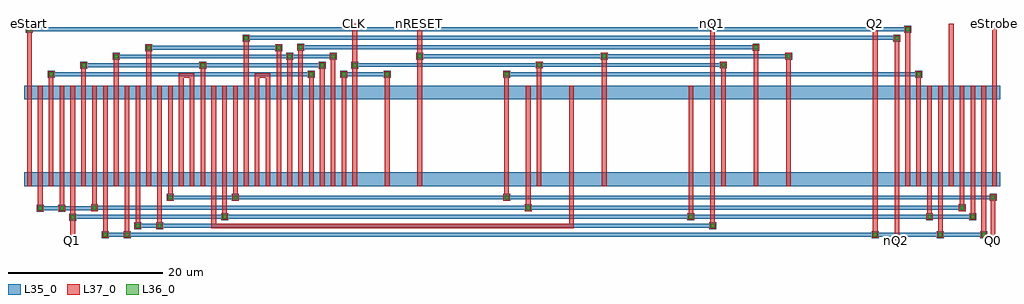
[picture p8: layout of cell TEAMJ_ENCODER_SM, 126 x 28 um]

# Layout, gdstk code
import gdstk
lib = gdstk.Library(unit=1e-6, precision=1e-09)
def R(c, l, rs):  # rectangles x0, y0, x1, y1
    for r in rs: c.add(gdstk.rectangle(r[:2], r[2:], *l))
def A(c, l, x, y, w, h, nx, ny, dx, dy):  # array of equal rectangles
    R(c, l, [(x+i*dx, y+j*dy, x+i*dx+w, y+j*dy+h) for i in range(nx) for j in range(ny)])
L35_0 = (35, 0)
L36_0 = (36, 0)
L37_0 = (37, 0)

via1 = lib.new_cell('VIA1')
R(via1, L35_0, [(-0.45,-0.45,0.45,0.45)])
R(via1, L36_0, [(-0.25,-0.25,0.25,0.25)])
R(via1, L37_0, [(-0.4,-0.4,0.4,0.4)])

nor31_h = lib.new_cell('NOR31_H')
R(nor31_h, L35_0, [(0,0,5.6,1.8), (0,11.2,5.6,13)])
nor31_h.add(gdstk.FlexPath([(4.9,0),(4.9,13)], 0.6, ends="flush", simple_path=True, layer=37, datatype=0))  # L37_0
nor31_h.add(gdstk.FlexPath([(3.5,13),(3.5,0)], 0.6, ends="flush", simple_path=True, layer=37, datatype=0))  # L37_0
nor31_h.add(gdstk.FlexPath([(2.1,0),(2.1,13)], 0.6, ends="flush", simple_path=True, layer=37, datatype=0))  # L37_0
nor31_h.add(gdstk.FlexPath([(0.7,0),(0.7,13)], 0.6, ends="flush", simple_path=True, layer=37, datatype=0))  # L37_0
nor31_h.add(gdstk.Label('NOR31', (2.8,6.5), layer=61, texttype=0))
nor31_h.add(gdstk.Label('Q', (4.9,13), layer=37, texttype=0))
nor31_h.add(gdstk.Label('C', (3.5,13), layer=37, texttype=0))
nor31_h.add(gdstk.Label('B', (2.1,13), layer=37, texttype=0))
nor31_h.add(gdstk.Label('A', (0.7,13), layer=37, texttype=0))
nor31_h.add(gdstk.Label('Q', (4.9,0), layer=37, texttype=0))
nor31_h.add(gdstk.Label('C', (3.5,0), layer=37, texttype=0))
nor31_h.add(gdstk.Label('B', (2.1,0), layer=37, texttype=0))
nor31_h.add(gdstk.Label('A', (0.7,0), layer=37, texttype=0))
nor31_h.add(gdstk.Label('vdd', (0,12.1), layer=35, texttype=0))
nor31_h.add(gdstk.Label('vdd', (5.6,12.1), layer=35, texttype=0))
nor31_h.add(gdstk.Label('gnd', (0,0.9), layer=35, texttype=0))
nor31_h.add(gdstk.Label('gnd', (5.6,0.9), layer=35, texttype=0))

nor41_h = lib.new_cell('NOR41_H')
R(nor41_h, L35_0, [(0,0,7,1.8), (0,11.2,7,13)])
nor41_h.add(gdstk.FlexPath([(6.3,13),(6.3,0)], 0.6, ends="flush", simple_path=True, layer=37, datatype=0))  # L37_0
nor41_h.add(gdstk.FlexPath([(4.9,0),(4.9,13)], 0.6, ends="flush", simple_path=True, layer=37, datatype=0))  # L37_0
nor41_h.add(gdstk.FlexPath([(3.5,13),(3.5,0)], 0.6, ends="flush", simple_path=True, layer=37, datatype=0))  # L37_0
nor41_h.add(gdstk.FlexPath([(2.1,0),(2.1,13)], 0.6, ends="flush", simple_path=True, layer=37, datatype=0))  # L37_0
nor41_h.add(gdstk.FlexPath([(0.7,13),(0.7,0)], 0.6, ends="flush", simple_path=True, layer=37, datatype=0))  # L37_0
nor41_h.add(gdstk.Label('NOR41', (3.5,6.5), layer=61, texttype=0))
nor41_h.add(gdstk.Label('Q', (6.3,13), layer=37, texttype=0))
nor41_h.add(gdstk.Label('D', (4.9,13), layer=37, texttype=0))
nor41_h.add(gdstk.Label('C', (3.5,13), layer=37, texttype=0))
nor41_h.add(gdstk.Label('B', (2.1,13), layer=37, texttype=0))
nor41_h.add(gdstk.Label('A', (0.7,13), layer=37, texttype=0))
nor41_h.add(gdstk.Label('Q', (6.3,0), layer=37, texttype=0))
nor41_h.add(gdstk.Label('D', (4.9,0), layer=37, texttype=0))
nor41_h.add(gdstk.Label('C', (3.5,0), layer=37, texttype=0))
nor41_h.add(gdstk.Label('B', (2.1,0), layer=37, texttype=0))
nor41_h.add(gdstk.Label('A', (0.7,0), layer=37, texttype=0))
nor41_h.add(gdstk.Label('vdd', (0,12.1), layer=35, texttype=0))
nor41_h.add(gdstk.Label('vdd', (7,12.1), layer=35, texttype=0))
nor41_h.add(gdstk.Label('gnd', (0,0.9), layer=35, texttype=0))
nor41_h.add(gdstk.Label('gnd', (7,0.9), layer=35, texttype=0))

dfc1_h = lib.new_cell('DFC1_H')
R(dfc1_h, L35_0, [(0,0,23.8,1.8), (0,11.2,23.8,13)])
dfc1_h.add(gdstk.FlexPath([(23.1,13),(23.1,0)], 0.6, ends="flush", simple_path=True, layer=37, datatype=0))  # L37_0
dfc1_h.add(gdstk.FlexPath([(20.3,0),(20.3,13)], 0.6, ends="flush", simple_path=True, layer=37, datatype=0))  # L37_0
dfc1_h.add(gdstk.FlexPath([(9.1,13),(9.1,0)], 0.6, ends="flush", simple_path=True, layer=37, datatype=0))  # L37_0
dfc1_h.add(gdstk.FlexPath([(4.9,0),(4.9,13)], 0.6, ends="flush", simple_path=True, layer=37, datatype=0))  # L37_0
dfc1_h.add(gdstk.FlexPath([(0.7,0),(0.7,13)], 0.6, ends="flush", simple_path=True, layer=37, datatype=0))  # L37_0
dfc1_h.add(gdstk.Label('DFC1', (11.9,6.5), layer=61, texttype=0))
dfc1_h.add(gdstk.Label('QN', (23.1,0), layer=37, texttype=0))
dfc1_h.add(gdstk.Label('Q', (20.3,0), layer=37, texttype=0))
dfc1_h.add(gdstk.Label('RN', (9.1,0), layer=37, texttype=0))
dfc1_h.add(gdstk.Label('D', (4.9,0), layer=37, texttype=0))
dfc1_h.add(gdstk.Label('C', (0.7,0), layer=37, texttype=0))
dfc1_h.add(gdstk.Label('QN', (23.1,13), layer=37, texttype=0))
dfc1_h.add(gdstk.Label('Q', (20.3,13), layer=37, texttype=0))
dfc1_h.add(gdstk.Label('RN', (9.1,13), layer=37, texttype=0))
dfc1_h.add(gdstk.Label('D', (4.9,13), layer=37, texttype=0))
dfc1_h.add(gdstk.Label('C', (0.7,13), layer=37, texttype=0))
dfc1_h.add(gdstk.Label('gnd', (0,0.9), layer=35, texttype=0))
dfc1_h.add(gdstk.Label('vdd', (0,12.1), layer=35, texttype=0))
dfc1_h.add(gdstk.Label('vdd', (23.8,12.1), layer=35, texttype=0))
dfc1_h.add(gdstk.Label('gnd', (23.8,0.9), layer=35, texttype=0))

nand31_h = lib.new_cell('NAND31_H')
R(nand31_h, L35_0, [(0,0,5.6,1.8), (0,11.2,5.6,13)])
nand31_h.add(gdstk.FlexPath([(4.9,13),(4.9,0)], 0.6, ends="flush", simple_path=True, layer=37, datatype=0))  # L37_0
nand31_h.add(gdstk.FlexPath([(3.5,0),(3.5,13)], 0.6, ends="flush", simple_path=True, layer=37, datatype=0))  # L37_0
nand31_h.add(gdstk.FlexPath([(2.1,13),(2.1,0)], 0.6, ends="flush", simple_path=True, layer=37, datatype=0))  # L37_0
nand31_h.add(gdstk.FlexPath([(0.7,0),(0.7,13)], 0.6, ends="flush", simple_path=True, layer=37, datatype=0))  # L37_0
nand31_h.add(gdstk.Label('NAND31', (2.8,6.5), layer=61, texttype=0))
nand31_h.add(gdstk.Label('Q', (4.9,13), layer=37, texttype=0))
nand31_h.add(gdstk.Label('A', (3.5,13), layer=37, texttype=0))
nand31_h.add(gdstk.Label('B', (2.1,13), layer=37, texttype=0))
nand31_h.add(gdstk.Label('C', (0.7,13), layer=37, texttype=0))
nand31_h.add(gdstk.Label('Q', (4.9,0), layer=37, texttype=0))
nand31_h.add(gdstk.Label('A', (3.5,0), layer=37, texttype=0))
nand31_h.add(gdstk.Label('B', (2.1,0), layer=37, texttype=0))
nand31_h.add(gdstk.Label('C', (0.7,0), layer=37, texttype=0))
nand31_h.add(gdstk.Label('vdd', (0,12.1), layer=35, texttype=0))
nand31_h.add(gdstk.Label('vdd', (5.6,12.1), layer=35, texttype=0))
nand31_h.add(gdstk.Label('gnd', (0,0.9), layer=35, texttype=0))
nand31_h.add(gdstk.Label('gnd', (5.6,0.9), layer=35, texttype=0))

nand21_h = lib.new_cell('NAND21_H')
R(nand21_h, L35_0, [(0,0,4.2,1.8), (0,11.2,4.2,13)])
nand21_h.add(gdstk.FlexPath([(3.5,0),(3.5,13)], 0.6, ends="flush", simple_path=True, layer=37, datatype=0))  # L37_0
nand21_h.add(gdstk.FlexPath([(2.1,13),(2.1,0)], 0.6, ends="flush", simple_path=True, layer=37, datatype=0))  # L37_0
nand21_h.add(gdstk.FlexPath([(0.7,0),(0.7,13)], 0.6, ends="flush", simple_path=True, layer=37, datatype=0))  # L37_0
nand21_h.add(gdstk.Label('NAND21', (2.1,6.5), layer=61, texttype=0))
nand21_h.add(gdstk.Label('Q', (3.5,0), layer=37, texttype=0))
nand21_h.add(gdstk.Label('A', (2.1,0), layer=37, texttype=0))
nand21_h.add(gdstk.Label('B', (0.7,0), layer=37, texttype=0))
nand21_h.add(gdstk.Label('Q', (3.5,13), layer=37, texttype=0))
nand21_h.add(gdstk.Label('A', (2.1,13), layer=37, texttype=0))
nand21_h.add(gdstk.Label('B', (0.7,13), layer=37, texttype=0))
nand21_h.add(gdstk.Label('vdd', (0,12.1), layer=35, texttype=0))
nand21_h.add(gdstk.Label('vdd', (4.2,12.1), layer=35, texttype=0))
nand21_h.add(gdstk.Label('gnd', (0,0.9), layer=35, texttype=0))
nand21_h.add(gdstk.Label('gnd', (4.2,0.9), layer=35, texttype=0))

teamj_encoder_sm = lib.new_cell('TEAMJ_ENCODER_SM')
R(teamj_encoder_sm, L35_0, [(6.75,-6.5,8.65,-6), (10.95,-5.35,12.85,-4.85), (13.75,-5.35,84.25,-4.85), (2.55,-4.2,21.25,-3.7), (22.15,-4.2,81.45,-3.7), (82.35,-4.2,112.25,-3.7), (113.15,-4.2,117.85,-3.7), (-1.65,-3.1,0.25,-2.6), (1.15,-3.1,4.45,-2.6), (5.35,-3.05,60.45,-2.55), (61.35,-3.05,116.45,-2.55), (15.15,-1.7,22.65,-1.2), (23.55,-1.7,57.65,-1.2), (37.55,14.2,42.25,14.7), (58.55,14.2,110.85,14.7), (38.95,15.4,61.85,15.9), (62.75,15.4,85.65,15.9), (8.15,16.5,29.65,17), (30.55,16.5,35.25,17), (47.35,16.55,70.25,17.05), (71.15,16.55,94.05,17.05), (12.35,17.65,28.25,18.15), (31.95,17.7,89.85,18.2)])
A(teamj_encoder_sm, L37_0, 4.6, -2.4, 0.6, 2.4, 3, 1, 56, 0)
A(teamj_encoder_sm, L37_0, 46.6, 13, 0.6, 3.4, 3, 1, 23.8, 0)
R(teamj_encoder_sm, L37_0, [(1.8,-7,2.4,-4.4), (108.2,-7,108.8,0), (120.6,-7,121.2,-1.85), (6,-5.85,6.6,0), (8.8,-5.85,9.4,0), (105.4,-5.85,106,0), (10.2,-4.7,10.8,0), (13,-4.7,13.6,0), (84.4,-4.7,85,0), (1.8,-3.6,2.4,0), (21.4,-3.55,22,0), (81.6,-3.55,82.2,0), (112.4,-3.55,113,0), (118,-3.55,118.6,0), (-2.4,-2.45,-1.8,0), (0.4,-2.45,1,0), (14.4,-1.05,15,0), (22.8,-1.05,23.4,0), (57.8,-1.05,58.4,0), (-3.8,13,-3.2,19.85), (-1,13,-0.4,14.05), (3.2,13,3.8,15.2), (7.4,13,8,16.35), (11.6,13,12.2,17.5), (18.6,13,19.2,15.2), (24.2,13,24.8,18.7), (28.4,13,29,17.5), (29.8,13,30.4,16.35), (31.2,13,31.8,17.55), (32.6,13,33.2,14.05), (35.4,13,36,16.35), (36.8,13,37.4,14.05), (38.2,13,38.8,15.2), (42.4,13,43,14.05), (57.8,13,58.4,14.05), (62,13,62.6,15.25), (84.4,13,85,21), (85.8,13,86.4,15.25), (90,13,90.6,17.55), (105.4,13,106,21), (108.2,13,108.8,18.7), (111,13,111.6,14.05), (115.2,13,115.8,21), (120.8,13,121.4,21), (38.2,16,38.8,21), (46.6,17.2,47.2,21)])
teamj_encoder_sm.add(gdstk.FlexPath([(120.45,-1.45),(58.55,-1.45)], 0.5, ends="flush", simple_path=True, layer=35, datatype=0))  # L35_0
teamj_encoder_sm.add(gdstk.FlexPath([(-3.05,20.25),(109.45,20.25)], 0.5, ends="flush", simple_path=True, layer=35, datatype=0))  # L35_0
teamj_encoder_sm.add(gdstk.FlexPath([(119.25,-6.25),(106.15,-6.25)], 0.5, ends="flush", simple_path=True, layer=35, datatype=0))  # L35_0
teamj_encoder_sm.add(gdstk.FlexPath([(108.05,19.15),(24.95,19.15)], 0.5, ends="flush", simple_path=True, layer=35, datatype=0))  # L35_0
teamj_encoder_sm.add(gdstk.FlexPath([(105.25,-6.25),(9.55,-6.25)], 0.5, ends="flush", simple_path=True, layer=35, datatype=0))  # L35_0
teamj_encoder_sm.add(gdstk.FlexPath([(33.85,15.6),(19.35,15.6)], 0.5, ends="flush", simple_path=True, layer=35, datatype=0))  # L35_0
teamj_encoder_sm.add(gdstk.FlexPath([(18.45,15.6),(3.95,15.6)], 0.5, ends="flush", simple_path=True, layer=35, datatype=0))  # L35_0
teamj_encoder_sm.add(gdstk.FlexPath([(32.45,14.45),(-0.25,14.45)], 0.5, ends="flush", simple_path=True, layer=35, datatype=0))  # L35_0
teamj_encoder_sm.add(gdstk.FlexPath([(-3.5,20.65),(-3.5,21)], 0.6, ends="flush", simple_path=True, layer=37, datatype=0))  # L37_0
teamj_encoder_sm.add(gdstk.FlexPath([(109.9,19.85),(109.9,13)], 0.6, ends="flush", simple_path=True, layer=37, datatype=0))  # L37_0
teamj_encoder_sm.add(gdstk.FlexPath([(114.1,-5.85),(114.1,0)], 0.6, ends="flush", simple_path=True, layer=37, datatype=0))  # L37_0
teamj_encoder_sm.add(gdstk.FlexPath([(119.7,-5.85),(119.7,0)], 0.6, ends="flush", simple_path=True, layer=37, datatype=0))  # L37_0
teamj_encoder_sm.add(gdstk.FlexPath([(66.5,0),(66.5,-5.15),(20.3,-5.15),(20.3,0)], 0.6, ends="flush", simple_path=True, layer=37, datatype=0))  # L37_0
teamj_encoder_sm.add(gdstk.FlexPath([(34.3,15.25),(34.3,13)], 0.6, ends="flush", simple_path=True, layer=37, datatype=0))  # L37_0
teamj_encoder_sm.add(gdstk.FlexPath([(17.5,13),(17.5,14.3),(16.1,14.3),(16.1,13)], 0.6, ends="flush", simple_path=True, layer=37, datatype=0))  # L37_0
teamj_encoder_sm.add(gdstk.FlexPath([(27.3,13),(27.3,14.3),(25.9,14.3),(25.9,13)], 0.6, ends="flush", simple_path=True, layer=37, datatype=0))  # L37_0
teamj_encoder_sm.add(gdstk.Reference(via1, (120.9,-1.45)))
teamj_encoder_sm.add(gdstk.Reference(via1, (109.9,20.25)))
teamj_encoder_sm.add(gdstk.Reference(via1, (-3.5,20.25)))
teamj_encoder_sm.add(gdstk.Reference(via1, (114.1,-6.25)))
teamj_encoder_sm.add(gdstk.Reference(via1, (119.7,-6.25)))
teamj_encoder_sm.add(gdstk.Reference(via1, (108.5,19.1)))
teamj_encoder_sm.add(gdstk.Reference(via1, (11.9,17.9)))
teamj_encoder_sm.add(gdstk.Reference(via1, (28.7,17.9)))
teamj_encoder_sm.add(gdstk.Reference(via1, (24.5,19.1)))
teamj_encoder_sm.add(gdstk.Reference(via1, (105.7,-6.25)))
teamj_encoder_sm.add(gdstk.Reference(via1, (9.1,-6.25)))
teamj_encoder_sm.add(gdstk.Reference(via1, (6.3,-6.25)))
teamj_encoder_sm.add(gdstk.Reference(via1, (84.7,-5.1)))
teamj_encoder_sm.add(gdstk.Reference(via1, (13.3,-5.1)))
teamj_encoder_sm.add(gdstk.Reference(via1, (10.5,-5.1)))
teamj_encoder_sm.add(gdstk.Reference(via1, (118.3,-3.95)))
teamj_encoder_sm.add(gdstk.Reference(via1, (112.7,-3.95)))
teamj_encoder_sm.add(gdstk.Reference(via1, (81.9,-3.95)))
teamj_encoder_sm.add(gdstk.Reference(via1, (21.7,-3.95)))
teamj_encoder_sm.add(gdstk.Reference(via1, (0.7,-2.85)))
teamj_encoder_sm.add(gdstk.Reference(via1, (2.1,-4)))
teamj_encoder_sm.add(gdstk.Reference(via1, (-2.1,-2.85)))
teamj_encoder_sm.add(gdstk.Reference(via1, (4.9,-2.8)))
teamj_encoder_sm.add(gdstk.Reference(via1, (60.9,-2.8)))
teamj_encoder_sm.add(gdstk.Reference(via1, (116.9,-2.8)))
teamj_encoder_sm.add(gdstk.Reference(via1, (58.1,14.45)))
teamj_encoder_sm.add(gdstk.Reference(via1, (111.3,14.45)))
teamj_encoder_sm.add(gdstk.Reference(via1, (23.1,-1.45)))
teamj_encoder_sm.add(gdstk.Reference(via1, (14.7,-1.45)))
teamj_encoder_sm.add(gdstk.Reference(via1, (58.1,-1.45)))
teamj_encoder_sm.add(gdstk.Reference(via1, (94.5,16.8)))
teamj_encoder_sm.add(gdstk.Reference(via1, (70.7,16.8)))
teamj_encoder_sm.add(gdstk.Reference(via1, (46.9,16.8)))
teamj_encoder_sm.add(gdstk.Reference(via1, (86.1,15.65)))
teamj_encoder_sm.add(gdstk.Reference(via1, (62.3,15.65)))
teamj_encoder_sm.add(gdstk.Reference(via1, (38.5,15.6)))
teamj_encoder_sm.add(gdstk.Reference(via1, (90.3,17.95)))
teamj_encoder_sm.add(gdstk.Reference(via1, (31.5,17.95)))
teamj_encoder_sm.add(gdstk.Reference(via1, (42.7,14.45)))
teamj_encoder_sm.add(gdstk.Reference(via1, (37.1,14.45)))
teamj_encoder_sm.add(gdstk.Reference(via1, (35.7,16.75)))
teamj_encoder_sm.add(gdstk.Reference(via1, (30.1,16.75)))
teamj_encoder_sm.add(gdstk.Reference(via1, (7.7,16.75)))
teamj_encoder_sm.add(gdstk.Reference(via1, (34.3,15.6)))
teamj_encoder_sm.add(gdstk.Reference(via1, (18.9,15.6)))
teamj_encoder_sm.add(gdstk.Reference(via1, (3.5,15.6)))
teamj_encoder_sm.add(gdstk.Reference(via1, (32.9,14.45)))
teamj_encoder_sm.add(gdstk.Reference(via1, (-0.7,14.45)))
teamj_encoder_sm.add(gdstk.Reference(nor31_h, (116.2,0)))
teamj_encoder_sm.add(gdstk.Reference(nor41_h, (109.2,0)))
teamj_encoder_sm.add(gdstk.Reference(dfc1_h, (85.4,0)))
teamj_encoder_sm.add(gdstk.Reference(dfc1_h, (61.6,0)))
teamj_encoder_sm.add(gdstk.Reference(dfc1_h, (37.8,0)))
teamj_encoder_sm.add(gdstk.Reference(nand31_h, (32.2,0)))
teamj_encoder_sm.add(gdstk.Reference(nand21_h, (12.6,0)))
teamj_encoder_sm.add(gdstk.Reference(nand31_h, (26.6,0)))
teamj_encoder_sm.add(gdstk.Reference(nand31_h, (21,0)))
teamj_encoder_sm.add(gdstk.Reference(nand21_h, (16.8,0)))
teamj_encoder_sm.add(gdstk.Reference(nand21_h, (8.4,0)))
teamj_encoder_sm.add(gdstk.Reference(nand21_h, (4.2,0)))
teamj_encoder_sm.add(gdstk.Reference(nand21_h, (0,0)))
teamj_encoder_sm.add(gdstk.Reference(nand21_h, (-4.2,0)))
teamj_encoder_sm.add(gdstk.Label('Q2', (105.7,21), layer=37, texttype=0))
teamj_encoder_sm.add(gdstk.Label('eStrobe', (121.1,21), layer=37, texttype=0))
teamj_encoder_sm.add(gdstk.Label('nOUT_', (115.5,21), layer=37, texttype=0))
teamj_encoder_sm.add(gdstk.Label('nQ2', (108.5,-7), layer=37, texttype=0))
teamj_encoder_sm.add(gdstk.Label('Q0', (120.9,-7), layer=37, texttype=0))
teamj_encoder_sm.add(gdstk.Label('nRESET', (46.9,21), layer=37, texttype=0))
teamj_encoder_sm.add(gdstk.Label('CLK', (38.5,21), layer=37, texttype=0))
teamj_encoder_sm.add(gdstk.Label('nQ1', (84.7,21), layer=37, texttype=0))
teamj_encoder_sm.add(gdstk.Label('Q1', (2.1,-7), layer=37, texttype=0))
teamj_encoder_sm.add(gdstk.Label('eStart', (-3.5,21), layer=37, texttype=0))

lib.write_gds('TEAMJ_ENCODER_SM.gds')
